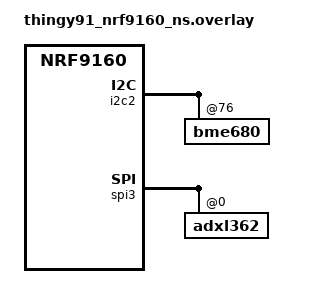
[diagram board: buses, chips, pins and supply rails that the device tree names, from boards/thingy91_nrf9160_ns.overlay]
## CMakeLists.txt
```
#
# Copyright (c) 2022 Nordic Semiconductor ASA
#
# SPDX-License-Identifier: LicenseRef-Nordic-5-Clause
#

cmake_minimum_required(VERSION 3.20.0)

find_package(Zephyr REQUIRED HINTS $ENV{ZEPHYR_BASE})
project(nrf_cloud_mqtt_multi_service)
zephyr_compile_definitions(PROJECT_NAME=${PROJECT_NAME})

# NORDIC SDK APP START
target_sources(app PRIVATE src/main.c)
target_sources(app PRIVATE src/application.c)
target_sources(app PRIVATE src/connection.c)
target_sources(app PRIVATE src/temperature.c)
target_sources(app PRIVATE src/fota_support.c)
target_sources(app PRIVATE src/led_control.c)
target_sources(app PRIVATE src/location_tracking.c)
target_sources(app PRIVATE src/vibration.c)
target_sources_ifdef(CONFIG_CLOUD_THINGSBOARD_COAP app PRIVATE src/tb_coap.c)
# NORDIC SDK APP END

zephyr_include_directories(src)
```

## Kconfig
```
#
# Copyright (c) 2022 Nordic Semiconductor ASA
#
# SPDX-License-Identifier: LicenseRef-Nordic-5-Clause
#

menu "MQTT Multi Service Sample Settings"

config APP_VERSION
	string "MQTT Multi Service Sample version"
	default "1.0.0"

config POWER_SAVING_MODE_ENABLE
	bool "Enable Power Saving Mode (PSM)"
	help
	  Enable to request Power Saving Mode from cellular network.

config LTE_INIT_RETRY_TIMEOUT_SECONDS
	int "LTE initialization retry timeout (seconds)"
	default 30
	help
	  Sets the number of seconds between each LTE modem initialization
	  retry.

config CLOUD_CONNECTION_RETRY_TIMEOUT_SECONDS
	int "Cloud connection retry timeout (seconds)"
	default 30
	help
	  If connecting to nRF Cloud takes longer than this timeout, it will be
	  reattempted.

config CLOUD_CONNECTION_REESTABLISH_DELAY_SECONDS
	int "Cloud connection reestablishment delay (seconds)"
	default 5
	help
	  After the connection to nRF Cloud has been reset, wait this amount of
	  time before attempting to connect again.

config CLOUD_READY_TIMEOUT_SECONDS
	int "Cloud readiness timeout (seconds)"
	default 600
	help
	  If the connection to nRF Cloud does not become ready within this
	  timeout, the sample will reset its connection and try again.

config DATE_TIME_ESTABLISHMENT_TIMEOUT_SECONDS
	int "Modem date and time establishment timeout (seconds)"
	default 300
	help
	  The sample will wait this many seconds for the modem to determine the
	  current date and time before giving up and moving on.

config APPLICATION_THREAD_STACK_SIZE
	int "Application Thread Stack Size (bytes)"
	default 2048
	help
	  Sets the stack size (in bytes) for the application thread of the
	  sample.

config CONNECTION_THREAD_STACK_SIZE
	int "Connection Thread Stack Size (bytes)"
	default 2048
	help
	  Sets the stack size (in bytes) for the connection thread of the
	  sample.

config MESSAGE_THREAD_STACK_SIZE
	int "Message Queue Thread Stack Size (bytes)"
	default 2048
	help
	  Sets the stack size (in bytes) for the message queue processing
	  thread of the sample.

config LED_THREAD_STACK_SIZE
	int "LED Thread Stack Size (bytes)"
	default 512
	help
	  Sets the stack size (in bytes) for the LED thread.

config MAX_OUTGOING_MESSAGES
	int "Outgoing message maximum"
	default 64
	help
	  Sets the maximum number of device messages which may be enqueued
	  before further messages are dropped.

config MAX_CONSECUTIVE_SEND_FAILURES
	int "Max outgoing consecutive send failures"
	default 5
	help
	  Sets the maximum number of device messages which may fail to send
	  before a connection reset and cooldown is triggered.

config CONSECUTIVE_SEND_FAILURE_COOLDOWN_SECONDS
	int "Cooldown after max consecutive send failures exceeded"
	default 10
	help
	  If a connection reset is triggered by too many failed device
	  messages, the sample will wait this long (in seconds) before trying
	  again.

config SENSOR_SAMPLE_INTERVAL_SECONDS
	int "Sensor sampling interval (seconds)"
	default 60
	help
	  Sets the time to wait between each sensor sample.

config LOCATION_TRACKING_SAMPLE_INTERVAL_SECONDS
	int "Location sampling interval (seconds)"
	default 60
	help
	  Sets the location sampling interval in seconds.

config LOCATION_TRACKING_GNSS
	bool "Use GNSS method for location tracking"
	default y
	depends on LOCATION_METHOD_GNSS
	help
	  Disable all location tracking methods to completely disable location tracking.

config LOCATION_TRACKING_CELLULAR
	bool "Use cellular method for location tracking"
	default y
	depends on LOCATION_METHOD_CELLULAR
	help
	  Disable all location tracking methods to completely disable location tracking.

config LOCATION_TRACKING_WIFI
	bool "Use Wi-Fi method for location tracking"
	default n
	depends on LOCATION_METHOD_WIFI
	help
	  Requires the use of an nRF7002 companion chip.
	  Disable all location tracking methods to completely disable location tracking.

config TEMP_DATA_USE_SENSOR
	bool "Use genuine temperature data"
	depends on BOARD_THINGY91_NRF9160_NS
	default y if BOARD_THINGY91_NRF9160_NS
	select SENSOR
	select BME680
	help
	  Sets whether to take genuine temperature measurements from a
	  connected BME680 sensor, or just simulate sensor data.

config TEMP_TRACKING
	bool "Track temperature"
	default y
	help
	  Sets whether to take temperature measurements.

config TEMP_ALERT_LIMIT
	int "Temperature limit to send alert"
	default 30
	help
	  Sets the temperature in degrees C over which a temperature alert will
	  be sent to the cloud.

choice
	prompt "LED indication"
	default LED_INDICATION_PWM if BOARD_THINGY91_NRF9160_NS
	default LED_INDICATION_GPIO if BOARD_NRF9160DK_NRF9160_NS || BOARD_NRF9161DK_NRF9161_NS || $(dt_compat_enabled,gpio-leds)
	default LED_INDICATION_DISABLED

	config LED_INDICATION_PWM
		select LED
		select LED_PWM
		select PWM
		bool "Enable LED indication using the pwm-leds driver"

	config LED_INDICATION_GPIO
		select LED
		select LED_GPIO
		bool "Enable LED indication using the gpio-leds driver"

	config LED_INDICATION_DISABLED
		bool "Disable LED indication"
endchoice

choice
	prompt "LED indication LED type"
	depends on !LED_INDICATION_DISABLED
	default LED_INDICATOR_RGB if BOARD_THINGY91_NRF9160_NS && LED_INDICATION_PWM
	default LED_INDICATOR_4LED if !LED_INDICATION_DISABLED
	default LED_INDICATOR_NONE

	config LED_INDICATOR_RGB
		depends on LED_INDICATION_PWM
		bool "A single RGB LED"

	config LED_INDICATOR_4LED
		depends on !LED_INDICATION_DISABLED
		bool "Four binary LEDs"

	config LED_INDICATOR_NONE
		depends on LED_INDICATION_DISABLED
		bool "No indicator LEDs"

endchoice

config LED_VERBOSE_INDICATION
	depends on !LED_INDICATION_DISABLED
	bool "Enables extra LED status indications"
	default y

config LED_CONTINUOUS_INDICATION
	depends on !LED_INDICATION_DISABLED
	bool "Show an idle pattern instead of turning LEDs off"
	default y

config GNSS_FIX_TIMEOUT_SECONDS
	int "GNSS Fix timeout"
	default 40
	help
	  On each location sample, try for this long to achieve a GNSS fix
	  before falling back to cellular positioning.
	  Set this to 20 or so seconds below the sensor sample interval so
	  that there is time left over to perform cellular positioning.
	  Otherwise, location samples may occur at a longer interval than
	  requested.

config TEST_COUNTER
	bool "Sets whether the test counter is enabled"

config AT_CMD_REQUESTS
	bool "Enables remote execution of AT commands using device messages"
	default y

config AT_CMD_REQUEST_RESPONSE_BUFFER_LENGTH
	int "Max length (in bytes) for Modem responses during AT command requests"
	help
	  Responses to modem AT commands are stored in a buffer of this length before being sent to
	  nRF Cloud. If a response from the modem exceeds this length, it will be dropped, and an
	  error code sent in its place (-NRF_E2BIG). Cannot be less than 40 bytes.
	default 200

config CLOUD_THINGSBOARD_COAP
	select COAP_UTILS
	bool "Enables reporting to Thingsboard cloud"
	default y

config CLOUD_THINGSBOARD_COAP_SERVER_HOSTNAME
	depends on CLOUD_THINGSBOARD_COAP
	string "Thingsboard CoAP server hostname"
	default "demo.thingsboard.io"

config CLOUD_THINGSBOARD_COAP_SERVER_PORT
	depends on CLOUD_THINGSBOARD_COAP
	int "CoAP server port"
	default 5683
	
config CLOUD_THINGSBOARD_COAP_ACCESS_TOKEN
	depends on CLOUD_THINGSBOARD_COAP
	string "Thingsboard device access token (TBD, move value to sec storage in the SoC)"

endmenu

module = MQTT_MULTI_SERVICE
module-str = MQTT Multi Service
source "${ZEPHYR_BASE}/subsys/logging/Kconfig.template.log_config"

menu "Zephyr Kernel"
source "Kconfig.zephyr"
endmenu
```

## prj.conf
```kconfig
#
# Copyright (c) 2022 Nordic Semiconductor ASA
#
# SPDX-License-Identifier: LicenseRef-Nordic-5-Clause
#

# AY
# CONFIG_TEST_COUNTER=y
# CONFIG_LOCATION_TRACKING_GNSS=n
# CONFIG_LOCATION_TRACKING_CELLULAR=n
CONFIG_MAIN_STACK_SIZE=4096
CONFIG_LOCATION_TRACKING_SAMPLE_INTERVAL_SECONDS=1200
CONFIG_SENSOR_SAMPLE_INTERVAL_SECONDS=20
CONFIG_CLOUD_THINGSBOARD_COAP_ACCESS_TOKEN="123"

# Log level
# For more verbose and detailed log output, set the log level to
CONFIG_MQTT_MULTI_SERVICE_LOG_LEVEL_DBG=y
#CONFIG_MQTT_MULTI_SERVICE_LOG_LEVEL_INF=y

# General config
CONFIG_EVENTS=y
CONFIG_NEWLIB_LIBC=y
CONFIG_NEWLIB_LIBC_FLOAT_PRINTF=y
CONFIG_RESET_ON_FATAL_ERROR=n
CONFIG_NCS_SAMPLES_DEFAULTS=y

#LED indication
# Uncomment these to minimize LED state indication when power savings are necessary
# CONFIG_LED_VERBOSE_INDICATION=n
# CONFIG_LED_CONTINUOUS_INDICATION=n

# Or, uncomment this to completely disable LED state indication
# CONFIG_LED_INDICATION_DISABLED=y

# Improved Logging
# CONFIG_LOG_MODE_DEFERRED allows logging from multiple threads simultaneously without creating
# splintered log entries, at the cost of needing a buffer for storing logs.
CONFIG_LOG_MODE_DEFERRED=y

# CONFIG_LOG_BUFFER_SIZE is the aforementioned buffer. A size of 4096 bytes is useful for debugging
# and prototyping, but is probably more than necessary for production-ready firmware.
CONFIG_LOG_BUFFER_SIZE=4096

# Heap and stacks
# Extended memory heap size needed both for PGPS and for encoding JSON-based nRF Cloud Device Messages.
CONFIG_HEAP_MEM_POOL_SIZE=24576
CONFIG_SYSTEM_WORKQUEUE_STACK_SIZE=3072

# Network
CONFIG_NETWORKING=y
CONFIG_NET_NATIVE=n
CONFIG_NET_SOCKETS=y
CONFIG_NET_SOCKETS_OFFLOAD=y

# Modem library
CONFIG_NRF_MODEM_LIB=y

# AT commands interface
CONFIG_UART_INTERRUPT_DRIVEN=y
CONFIG_AT_HOST_LIBRARY=y

# nRF Cloud
CONFIG_NRF_CLOUD_MQTT=y # This also enables FOTA by implicitly setting CONFIG_NRF_CLOUD_FOTA=y

# MQTT
CONFIG_MQTT_KEEPALIVE=120

# MCUBOOT - Needed by FOTA
CONFIG_BOOTLOADER_MCUBOOT=y
CONFIG_IMG_MANAGER=y
CONFIG_MCUBOOT_IMG_MANAGER=y
CONFIG_STREAM_FLASH_ERASE=y

# Location Services configuration
CONFIG_LOCATION=y
CONFIG_LOCATION_METHOD_GNSS=y
CONFIG_LOCATION_METHOD_CELLULAR=y
CONFIG_NRF_CLOUD_AGPS=y
CONFIG_NRF_CLOUD_LOCATION=y
CONFIG_MODEM_INFO=y
CONFIG_MODEM_INFO_ADD_NETWORK=y
CONFIG_NRF_CLOUD_PGPS=y
CONFIG_NRF_CLOUD_PGPS_REPLACEMENT_THRESHOLD=4
CONFIG_NRF_CLOUD_PGPS_REQUEST_UPON_INIT=y

# Date Time lib - Used by PGPS and main application
CONFIG_DATE_TIME=y

# LTE link control - used by PGPS and main application
CONFIG_LTE_LINK_CONTROL=y
CONFIG_LTE_NETWORK_MODE_LTE_M_GPS=y

# Settings - used by nRF Cloud library and PGPS
CONFIG_SETTINGS=y
CONFIG_SETTINGS_FCB=y
CONFIG_FCB=y

# Download Client - used by FOTA and PGPS
CONFIG_DOWNLOAD_CLIENT=y
CONFIG_DOWNLOAD_CLIENT_HTTP_FRAG_SIZE_1024=y
CONFIG_DOWNLOAD_CLIENT_STACK_SIZE=4096
CONFIG_DOWNLOAD_CLIENT_BUF_SIZE=2300
CONFIG_DOWNLOAD_CLIENT_MAX_HOSTNAME_SIZE=128

# Flash - Used by FOTA and PGPS
CONFIG_FLASH=y
CONFIG_FLASH_PAGE_LAYOUT=y
CONFIG_FLASH_MAP=y
CONFIG_STREAM_FLASH=y
CONFIG_MPU_ALLOW_FLASH_WRITE=y
CONFIG_PM_EXTERNAL_FLASH_MCUBOOT_SECONDARY=n
CONFIG_NRF_CLOUD_ALERT=y
CONFIG_NRF_CLOUD_LOG_DIRECT=y
CONFIG_NRF_CLOUD_LOG_OUTPUT_LEVEL=3
```

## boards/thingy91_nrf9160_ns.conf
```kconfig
# Configuration related to external sensors.
CONFIG_SENSOR=y
CONFIG_SPI=y

# ADXL362 - Low-Power accelerometer used for activity and inactivity detection.
CONFIG_ADXL362=y
CONFIG_ADXL362_TRIGGER_GLOBAL_THREAD=y
# CONFIG_ADXL362_INTERRUPT_MODE=1 # Unsigned value that sets the ADXL362 in different interrupt modes. 0 - Default mode 1 - Linked mode 3 - Loop mode (this is for Activity and Inactivity Detection features)
# CONFIG_ADXL362_ABS_REF_MODE=1 # Unsigned value that sets the ADXL362 interrupt mode in either absolute or referenced mode. 0 - Absolute mode 1 - Referenced mode (this is for Activity and Inactivity Detection features)
CONFIG_ADXL362_ACCEL_RANGE_2G=y
CONFIG_ADXL362_ACCEL_ODR_100=y

# ADXL372
# CONFIG_ADXL372=y
# CONFIG_ADXL372_MEASUREMENT_MODE=y
# CONFIG_ADXL372_TRIGGER_GLOBAL_THREAD=y
```

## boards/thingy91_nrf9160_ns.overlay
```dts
/* Copyright (c) 2022 Nordic Semiconductor ASA
 *
 * SPDX-License-Identifier: LicenseRef-Nordic-5-Clause
 */

/ {
	aliases {
		temp-sensor = &bme680;
		accelerometer = &adxl362;
		impact-sensor = &adxl372;
	};
};

&i2c2 {
	bme680: bme680@76 {};
};

&spi3 {
	adxl362: adxl362@0 {
		// autosleep;
	};
};
```

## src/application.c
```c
/* Copyright (c) 2022 Nordic Semiconductor ASA
 *
 * SPDX-License-Identifier: LicenseRef-Nordic-5-Clause
 */

#include <zephyr/kernel.h>
#include <zephyr/logging/log.h>
#include <modem/location.h>
#include <nrf_modem_at.h>
#include <nrf_errno.h>
#include <net/nrf_cloud.h>
#include <net/nrf_cloud_codec.h>
#include <net/nrf_cloud_log.h>
#include <net/nrf_cloud_alert.h>
#include <date_time.h>
#include <cJSON.h>
#include <stdio.h>
#include <modem/modem_info.h>

#if defined(CONFIG_ADP536X)
#include <adp536x.h>
#endif

#include "nrf_cloud_codec_internal.h"
#include "application.h"
#include "temperature.h"
#include "connection.h"

#include "location_tracking.h"
#include "led_control.h"

#include "vibration.h"

#ifdef CONFIG_CLOUD_THINGSBOARD_COAP
#include "tb_coap.h"	
#endif // CONFIG_CLOUD_THINGSBOARD_COAP

LOG_MODULE_REGISTER(application, CONFIG_MQTT_MULTI_SERVICE_LOG_LEVEL);

/* Timer used to time the sensor sampling rate. */
static K_TIMER_DEFINE(sensor_sample_timer, NULL, NULL);

/* AT command request error handling */
#define AT_CMD_REQUEST_ERR_FORMAT "Error while processing AT command request: %d"
#define AT_CMD_REQUEST_ERR_MAX_LEN (sizeof(AT_CMD_REQUEST_ERR_FORMAT) + 20)
BUILD_ASSERT(CONFIG_AT_CMD_REQUEST_RESPONSE_BUFFER_LENGTH >= AT_CMD_REQUEST_ERR_MAX_LEN,
	     "Not enough AT command response buffer for printing error events.");

/* Temperature alert limits. */
#define TEMP_ALERT_LIMIT ((float)CONFIG_TEMP_ALERT_LIMIT)
#define TEMP_ALERT_HYSTERESIS 1.5f
#define TEMP_ALERT_LOWER_LIMIT (TEMP_ALERT_LIMIT - TEMP_ALERT_HYSTERESIS)

/* Buffer to contain modem responses when performing AT command requests */
static char at_req_resp_buf[CONFIG_AT_CMD_REQUEST_RESPONSE_BUFFER_LENGTH];

/**
 * @brief Construct a device message cJSON object with automatically generated timestamp
 *
 * The resultant cJSON object will be conformal to the General Message Schema described in the
 * application-protocols repo:
 *
 * https://github.com/nRFCloud/application-protocols
 *
 * @param appid - The appId for the device message
 * @param msg_type - The messageType for the device message
 * @return cJSON* - the timestamped data device message object if successful, NULL otherwise.
 */
static cJSON *create_timestamped_device_message(const char *const appid, const char *const msg_type)
{
	cJSON *msg_obj = NULL;
	int64_t timestamp;

	/* Acquire timestamp */
	if (date_time_now(&timestamp)) {
		LOG_ERR("Failed to create timestamp for data message "
			"with appid %s", appid);
		return NULL;
	}

	/* Create container object */
	msg_obj = json_create_req_obj(appid, msg_type);
	if (msg_obj == NULL) {
		LOG_ERR("Failed to create container object for timestamped data message "
			"with appid %s and message type %s", appid, msg_type);
		return NULL;
	}

	/* Add timestamp to container object */
	if (!cJSON_AddNumberToObject(msg_obj, NRF_CLOUD_MSG_TIMESTAMP_KEY, (double)timestamp)) {
		LOG_ERR("Failed to add timestamp to data message with appid %s and message type %s",
			appid, msg_type);
		cJSON_Delete(msg_obj);
		return NULL;
	}

	return msg_obj;
}

/**
 * @brief Transmit a collected sensor sample to nRF Cloud.
 *
 * @param sensor - The name of the sensor which was sampled.
 * @param value - The sampled sensor value.
 * @return int - 0 on success, negative error code otherwise.
 */
static int send_sensor_sample(const char *const sensor, double value)
{
	int ret = 0;

	/* Create a timestamped message container object for the sensor sample. */
	cJSON *msg_obj = create_timestamped_device_message(
		sensor, NRF_CLOUD_JSON_MSG_TYPE_VAL_DATA
	);

	if (msg_obj == NULL) {
		ret = -EINVAL;
		goto cleanup;
	}

	/* Populate the container object with the sensor value. */
	if (cJSON_AddNumberToObject(msg_obj, NRF_CLOUD_JSON_DATA_KEY, value) == NULL) {
		ret = -ENOMEM;
		LOG_ERR("Failed to append value to %s sample container object ",
			sensor);
		goto cleanup;
	}

	/* Send the sensor sample container object as a device message. */
	ret = send_device_message_cJSON(msg_obj);

cleanup:
	if (msg_obj) {
		cJSON_Delete(msg_obj);
	}
	return ret;
}

/**
 * @brief Transmit a collected GNSS sample to nRF Cloud.
 *
 * @param loc_gnss - GNSS location data.
 * @return int - 0 on success, negative error code otherwise.
 */
static int send_gnss(const struct location_event_data * const loc_gnss)
{
	if (!loc_gnss || (loc_gnss->method != LOCATION_METHOD_GNSS)) {
		return -EINVAL;
	}

	int ret = 0;
	struct nrf_cloud_gnss_data gnss_pvt = {
		.type = NRF_CLOUD_GNSS_TYPE_PVT,
		.ts_ms = NRF_CLOUD_NO_TIMESTAMP,
		.pvt = {
			.lon		= loc_gnss->location.longitude,
			.lat		= loc_gnss->location.latitude,
			.accuracy	= loc_gnss->location.accuracy,
			.has_alt	= 0,
			.has_speed	= 0,
			.has_heading	= 0
		}
	};

	cJSON *msg_obj = cJSON_CreateObject();

	/* Add the timestamp */
	(void)date_time_now(&gnss_pvt.ts_ms);

	/* Encode the location data into a device message */
	ret = nrf_cloud_gnss_msg_json_encode(&gnss_pvt, msg_obj);

	if (ret == 0) {
		/* Send the location message */
		ret = send_device_message_cJSON(msg_obj);
	}

	if (msg_obj) {
		cJSON_Delete(msg_obj);
	}

	return ret;
}

/**
 * @brief Callback to receive periodic location updates from location_tracking.c and forward them
 * to nRF Cloud.
 *
 * Note that cellular positioning (MCELL/Multi-Cell and SCELL/Single-Cell) is sent to nRF
 * Cloud automatically (since the Location library and nRF Cloud must work together to
 * determine them in the first place). GNSS positions, on the other hand, must be
 * sent manually, since they are determined entirely on-device.
 *
 * @param location_data - The received location update.
 *
 */
static void on_location_update(const struct location_event_data * const location_data)
{
	LOG_INF("Location Updated: %.06f N %.06f W, accuracy: %.01f m, Method: %s",
		location_data->location.latitude,
		location_data->location.longitude,
		location_data->location.accuracy,
		location_method_str(location_data->method));

	/* If the position update was derived using GNSS, send it onward to nRF Cloud. */
	if (location_data->method == LOCATION_METHOD_GNSS) {
		LOG_INF("GNSS Position Update! Sending to nRF Cloud...");
		send_gnss(location_data);
	}
}

/**
 * @brief Receives general device messages from nRF Cloud, checks if they are AT command requests,
 * and performs them if so, transmitting the modem response back to nRF Cloud.
 *
 * Try sending {"appId":"MODEM", "messageType":"CMD", "data":"AT+CGMR"}
 * in the nRF Cloud Portal Terminal card.
 *
 * @param msg - The device message to check.
 */
static void handle_at_cmd_requests(const char *const msg)
{
	/* Attempt to parse the message as if it is JSON */
	struct cJSON *msg_obj = cJSON_Parse(msg);

	if (!msg_obj) {
		/* The message isn't JSON or otherwise couldn't be parsed. */
		LOG_DBG("A general topic device message of length %d could not be parsed.",
			msg ? strlen(msg) : 0);
		return;
	}

	/* Check that we are actually dealing with an AT command request */
	char *msg_appid =
		cJSON_GetStringValue(cJSON_GetObjectItem(msg_obj, NRF_CLOUD_JSON_APPID_KEY));
	char *msg_type =
		cJSON_GetStringValue(cJSON_GetObjectItem(msg_obj, NRF_CLOUD_JSON_MSG_TYPE_KEY));
	if (!msg_appid || !msg_type ||
	    (strcmp(msg_appid, NRF_CLOUD_JSON_APPID_VAL_MODEM)  != 0) ||
	    (strcmp(msg_type,  NRF_CLOUD_JSON_MSG_TYPE_VAL_CMD) != 0)) {
		goto cleanup;
	}

	/* If it is, extract the command string */
	char *cmd =
		cJSON_GetStringValue(cJSON_GetObjectItem(msg_obj, NRF_CLOUD_JSON_DATA_KEY));

	if (!cmd) {
		/* Missing or invalid command value will be treated as a blank command */
		cmd = "";
	}

	/* Execute the command and receive the result */
	LOG_DBG("Modem AT command requested: %s", cmd);
	memset(at_req_resp_buf, 0, sizeof(at_req_resp_buf));

	/* We must pass the command in using a format specifier it might contain special characters
	 * such as %.
	 *
	 * We subtract 1 from the passed-in response buffer length to ensure that the response is
	 * always null-terminated, even when the response is longer than the response buffer size.
	 */
	int err = nrf_modem_at_cmd(at_req_resp_buf, sizeof(at_req_resp_buf) - 1, "%s", cmd);

	LOG_DBG("Modem AT command response (%d, %d): %s",
		nrf_modem_at_err_type(err), nrf_modem_at_err(err), at_req_resp_buf);

	/* Trim \r\n from modem response for better readability in the portal. */
	at_req_resp_buf[MAX(0, strlen(at_req_resp_buf) - 2)] = '\0';

	/* If an error occurred with the request, report it */
	if (err < 0) {
		/* Negative error codes indicate an error with the modem lib itself, so the
		 * response buffer will be empty (or filled with junk). Thus, we can print the
		 * error message directly into it.
		 */
		snprintf(at_req_resp_buf, sizeof(at_req_resp_buf), AT_CMD_REQUEST_ERR_FORMAT, err);
		LOG_ERR("%s", at_req_resp_buf);
	}

	/* Free the old container object and create a new one to contain our response */
	cJSON_Delete(msg_obj);
	msg_obj = create_timestamped_device_message(
		NRF_CLOUD_JSON_APPID_VAL_MODEM,
		NRF_CLOUD_JSON_MSG_TYPE_VAL_DATA
	);

	if (!msg_obj) {
		return;
	}

	/* Populate response with command result */
	if (!cJSON_AddStringToObject(msg_obj, NRF_CLOUD_JSON_DATA_KEY, at_req_resp_buf)) {
		LOG_ERR("Failed to populate AT CMD response with modem response data");
		goto cleanup;
	}

	/* Send the response */
	err = send_device_message_cJSON(msg_obj);

	if (err) {
		LOG_ERR("Failed to send AT CMD request response, error: %d", err);
	}

cleanup:
	cJSON_Delete(msg_obj);
}

/** @brief Check whether temperature is acceptable.
 * If the device exceeds a temperature limit, send the temperature alert one time.
 * Once the temperature falls below a lower limit, re-enable the temperature alert
 * so it will be sent if limit is exceeded again.
 *
 * The difference between the two limits should be sufficient to prevent sending
 * new alerts if the temperature value oscillates between two nearby values.
 *
 * @param temp - The current device temperature.
 */
static void monitor_temperature(double temp)
{
	static bool temperature_alert_active;

	if ((temp > TEMP_ALERT_LIMIT) && !temperature_alert_active) {
		temperature_alert_active = true;
		(void)nrf_cloud_alert_send(ALERT_TYPE_TEMPERATURE, (float)temp,
					   "Temperature over limit!");
		LOG_INF("Temperature limit %f C exceeded: now %f C.",
			TEMP_ALERT_LIMIT, temp);
	} else if ((temp < TEMP_ALERT_LOWER_LIMIT) && temperature_alert_active) {
		temperature_alert_active = false;
		LOG_INF("Temperature now below limit: %f C.", temp);
	}
}

void main_application_thread_fn(void)
{
	int err = modem_info_init();
	if (err) {
		LOG_ERR("Failed initializing modem info module, error: %d", err);
	}

	if (IS_ENABLED(CONFIG_AT_CMD_REQUESTS)) {
		/* Register with connection.c to receive general device messages and check them for
		 * AT command requests.
		 */
		register_general_dev_msg_handler(handle_at_cmd_requests);
	}

	/* Wait for first connection before starting the application. */
	(void)await_connection(K_FOREVER);

	// (void)nrf_cloud_alert_send(ALERT_TYPE_DEVICE_NOW_ONLINE, 0, NULL);

	/* Wait for the date and time to become known.
	 * This is needed both for location services and for sensor sample timestamping.
	 */
	LOG_INF("Waiting for modem to determine current date and time");
	if (!await_date_time_known(K_SECONDS(CONFIG_DATE_TIME_ESTABLISHMENT_TIMEOUT_SECONDS))) {
		LOG_WRN("Failed to determine valid date time. Proceeding anyways");
	} else {
		LOG_INF("Current date and time determined");
	}

	nrf_cloud_log_init();
	/* Send a direct log to the nRF Cloud web portal indicating the sample has started up. */
	// nrf_cloud_log_send(LOG_LEVEL_INF, "nRF Cloud MQTT multi-service sample v%s", CONFIG_APP_VERSION);

	/* Begin tracking location at the configured interval. */
	(void)start_location_tracking(on_location_update, CONFIG_LOCATION_TRACKING_SAMPLE_INTERVAL_SECONDS);

	int counter = 0;

	LOG_INF("Start vibration tracking");
	start_vibration_tracking();
#ifdef CONFIG_CLOUD_THINGSBOARD_COAP
	LOG_INF("Start TB CoAP cloud transport");
	start_tb_coap();
#endif // CONFIG_CLOUD_THINGSBOARD_COAP

	/* Begin sampling sensors. */
	int iteration = 0;
	const int detailedIterationInterval = 50; // 50x for production use. move to config?
	while (true) {
		bool detailedIteration = (iteration++) % detailedIterationInterval == 0;
		/* Start the sensor sample interval timer.
		 * We use a timer here instead of merely sleeping the thread, because the
		 * application thread can be preempted by other threads performing long tasks
		 * (such as periodic location acquisition), and we want to account for these
		 * delays when metering the sample send rate.
		 */
		k_timer_start(&sensor_sample_timer,
			K_SECONDS(CONFIG_SENSOR_SAMPLE_INTERVAL_SECONDS), K_FOREVER);

		if (IS_ENABLED(CONFIG_TEMP_TRACKING)) {
			double temp = -1;

			if (get_temperature(&temp) == 0) {
				LOG_INF("Temperature is %d degrees C", (int)temp);
				if (detailedIteration)
				{
					(void)send_sensor_sample(NRF_CLOUD_JSON_APPID_VAL_TEMP, temp);
					tb_coap_send_telemetry_double("temp", temp);
				}

				// monitor_temperature(temp);
			}
		}

		if (IS_ENABLED(CONFIG_TEST_COUNTER)) {
			LOG_INF("Sent test counter = %d", counter);
			if (detailedIteration)
			{
				(void)send_sensor_sample("COUNT", counter++);
			}
		}

		double vibration = get_vibration_measurement();
		LOG_INF("Vibration is %f", vibration);
		if (detailedIteration)
		{
			(void)send_sensor_sample("VIBRATION", vibration);
			tb_coap_send_telemetry_int("it", iteration);

			// Request "Reference Signal Receive Power" from modem
			int16_t modem_rsrp = 0;
			err = modem_info_short_get(MODEM_INFO_RSRP, &modem_rsrp); // RSRP raw values that represent actual signal strength are 0 through 97.
			if (err != sizeof(modem_rsrp)) {
				LOG_ERR("modem_info_short_get, error: %d", err);
			}
			tb_coap_send_telemetry_int("rsrp", modem_rsrp);

			// measure battery
#if defined(CONFIG_ADP536X)
			uint8_t percentage;
			int err = adp536x_fg_soc(&percentage);
			if (err) {
				LOG_ERR("Failed to get battery level: %d", err);
			}
			else
			{
				tb_coap_send_telemetry_int("batp", percentage);
			}
			uint16_t voltage;
			err = adp536x_fg_volts(&voltage);
			if (err) {
				LOG_ERR("Failed to get battery voltage: %d", err);
			}
			else
			{
				tb_coap_send_telemetry_int("batv", voltage);
			}
#endif
		}
#ifdef CONFIG_CLOUD_THINGSBOARD_COAP
		// high frequency iteration
		tb_coap_send_telemetry_double("vib", vibration);
#endif // CONFIG_CLOUD_THINGSBOARD_COAP

		/* Wait out any remaining time on the sample interval timer. */
		k_timer_status_sync(&sensor_sample_timer);
	}
}
```

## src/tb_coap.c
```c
#include <zephyr/kernel.h>
#include <zephyr/logging/log.h>
#include <zephyr/net/socket.h>
#include <net/coap_utils.h>

#include "tb_coap.h"

LOG_MODULE_REGISTER(tb_coap, CONFIG_MQTT_MULTI_SERVICE_LOG_LEVEL);

static struct sockaddr server;

static int server_resolve(void)
{
	int err;
	struct addrinfo *result;
	struct addrinfo hints = {
		.ai_family = AF_INET,
		.ai_socktype = SOCK_DGRAM
	};

	err = getaddrinfo(CONFIG_CLOUD_THINGSBOARD_COAP_SERVER_HOSTNAME, NULL, &hints, &result);
	if (err != 0) {
		LOG_ERR("getaddrinfo failed %d\n", err);
		return -EIO;
	}

	if (result == NULL) {
		LOG_ERR("Address not found\n");
		return -ENOENT;
	}

	/* IPv4 Address. */
	struct sockaddr_in *server4 = ((struct sockaddr_in *)&server);

	server4->sin_addr.s_addr = ((struct sockaddr_in *)result->ai_addr)->sin_addr.s_addr;
	server4->sin_family = AF_INET;
	server4->sin_port = htons(CONFIG_CLOUD_THINGSBOARD_COAP_SERVER_PORT);

	// print
	char ipv4_addr[NET_IPV4_ADDR_LEN];
	inet_ntop(AF_INET, &server4->sin_addr.s_addr, ipv4_addr, sizeof(ipv4_addr));
	LOG_DBG("IPv4 Address found %s", ipv4_addr);

	/* Free the address. */
	freeaddrinfo(result);

	return 0;
}

int tb_coap_reply(const struct coap_packet *response, struct coap_reply *reply, const struct sockaddr *from)
{
	LOG_INF("tb_coap_reply");
	return 0;
}

void start_tb_coap()
{
	if (server_resolve() != 0) {
		LOG_ERR("Failed to resolve server name");
	}

	coap_init(server.sa_family, NULL);
}

int tb_coap_send_telemetry_int(const char * name, int value)
{
	LOG_DBG("coap name: %s", name);
	// format as JSON. this is a simple case, so don't use a serialization library
	char payload[10 + strlen(name) + 10]; // {"name": value}
	snprintf(payload, sizeof(payload), "{\"%s\":%d}", name, value);
	LOG_DBG("coap payload: %s", payload);
	return tb_coap_send_telemetry_payload_string(name, payload);
}

int tb_coap_send_telemetry_double(const char * name, double value)
{
	LOG_DBG("coap name: %s", name);
	// format as JSON. this is a simple case, so don't use a serialization library
	char payload[10 + strlen(name) + 10]; // {"name": value}
	snprintf(payload, sizeof(payload), "{\"%s\":%f}", name, value);
	LOG_DBG("coap payload: %s", payload);
	return tb_coap_send_telemetry_payload_string(name, payload);
}

int tb_coap_send_telemetry_payload_string(const char * name, const char * payload)
{
	// make path
	char path[20 + strlen(CONFIG_CLOUD_THINGSBOARD_COAP_ACCESS_TOKEN)];
	snprintf(path, sizeof(path), "api/v1/%s/telemetry", CONFIG_CLOUD_THINGSBOARD_COAP_ACCESS_TOKEN);
	LOG_DBG("coap path: %s", path);
	// send
	const char * uri_path_options[2] = {path, NULL};
	int ret = coap_send_request(COAP_METHOD_POST, &server, uri_path_options, (uint8_t *)payload, strlen(payload), /*tb_coap_reply*/NULL);
	LOG_DBG("coap_send_request: %d", ret);
	return ret;
}
```

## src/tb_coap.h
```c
void start_tb_coap();
int tb_coap_send_telemetry_int(const char * name, int value);
int tb_coap_send_telemetry_double(const char * name, double value);
int tb_coap_send_telemetry_payload_string(const char * name, const char * payload);
```

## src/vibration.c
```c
#include <zephyr/kernel.h>
#include <zephyr/logging/log.h>
#include <zephyr/devicetree.h>
#include <zephyr/drivers/sensor.h>
#include <stdlib.h>
#include <math.h>

#include "vibration.h"

#define ACCELEROMETER_CHANNELS 3
#define SAMPLES_IN_MEASUREMENT 500

LOG_MODULE_REGISTER(vibration, CONFIG_MQTT_MULTI_SERVICE_LOG_LEVEL);

static const struct device *accel_sensor = DEVICE_DT_GET(DT_ALIAS(accelerometer));

static struct sensor_trigger accel_sensor_trigger = {
		.chan = SENSOR_CHAN_ACCEL_XYZ,
		.type = SENSOR_TRIG_DATA_READY
};

double previous_sample[ACCELEROMETER_CHANNELS] = {0, 0, 0};
int samples_to_make = 0;
double measurement = 0;
double measurement_in_progress = 0;

static void accel_trigger_handler(const struct device *dev,
				   const struct sensor_trigger *trig)
{
	struct sensor_value data[ACCELEROMETER_CHANNELS];
	// struct ext_sensor_evt evt = {0};
	int err;

	switch (trig->type) {
	case SENSOR_TRIG_DATA_READY:
		if (sensor_sample_fetch(dev) < 0) {
			LOG_ERR("Sample fetch error");
			return;
		}

		err = sensor_channel_get(dev, SENSOR_CHAN_ACCEL_XYZ, data);
		if (err) {
			LOG_ERR("sensor_channel_get, error: %d", err);
			return;
		}
		// convert from sensor_value to regular numbers. TBD if this is sub optimal.
		// LOG_DBG("%d %d %d, %d %d %d", data[0].val1, data[1].val1, data[2].val1, data[0].val2, data[1].val2, data[2].val2);
		double sample[ACCELEROMETER_CHANNELS];
		sample[0] = sensor_value_to_double(&data[0]);
		sample[1] = sensor_value_to_double(&data[1]);
		sample[2] = sensor_value_to_double(&data[2]);
		// LOG_DBG("%f %f %f", sample[0], sample[1], sample[2]);

		if (samples_to_make <= 0) // start a new measurement
		{
			measurement = measurement_in_progress / SAMPLES_IN_MEASUREMENT; // finalize in-progress measurement and normalize
			LOG_DBG("%6.4f", measurement);
			samples_to_make = SAMPLES_IN_MEASUREMENT;
			measurement_in_progress = 0;
		}
		// measurement_in_progress += fabs(sample[0] - previous_sample[0]) + fabs(sample[1] - previous_sample[1])+ fabs(sample[2] - previous_sample[2]); // measure diff from prev sample
		measurement_in_progress += sqrt((sample[0] - previous_sample[0])*(sample[0] - previous_sample[0]) + (sample[1] - previous_sample[1])*(sample[1] - previous_sample[1]) + (sample[2] - previous_sample[2])*(sample[2] - previous_sample[2])); // measure proper diff vector length
		samples_to_make--;

		// store current as previous
		memcpy(previous_sample, sample, sizeof(previous_sample));

		// evt.value = sqrt(pow(sensor_ms2_to_g(&data[0]), 2.0) +
		// 		 pow(sensor_ms2_to_g(&data[1]), 2.0) +
		// 		 pow(sensor_ms2_to_g(&data[2]), 2.0));

		// LOG_DBG("%f %f %f", sensor_value_to_double(&data[0]), sensor_value_to_double(&data[1]), sensor_value_to_double(&data[2]));
		// LOG_DBG("Detected impact of %6.2f g\n", evt.value);

		// if (evt.value > 0.0) {
		// 	evt.type = EXT_SENSOR_EVT_ACCELEROMETER_IMPACT_TRIGGER;
		// 	evt_handler(&evt);
		// }
		break;
	default:
		LOG_ERR("Unknown trigger");
	}
}

void start_vibration_tracking()
{
	if (!device_is_ready(accel_sensor)) {
		LOG_ERR("Accelerometer device is not ready");
	} else {
		int err = sensor_trigger_set(accel_sensor, &accel_sensor_trigger, accel_trigger_handler);
		if (err) {
			LOG_ERR("Could not set trigger for device %s, error: %d",
				accel_sensor->name, err);
			// return err;
		}
	}
}

double get_vibration_measurement()
{
	return measurement;
}
```

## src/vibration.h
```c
void start_vibration_tracking();
double get_vibration_measurement();
```
